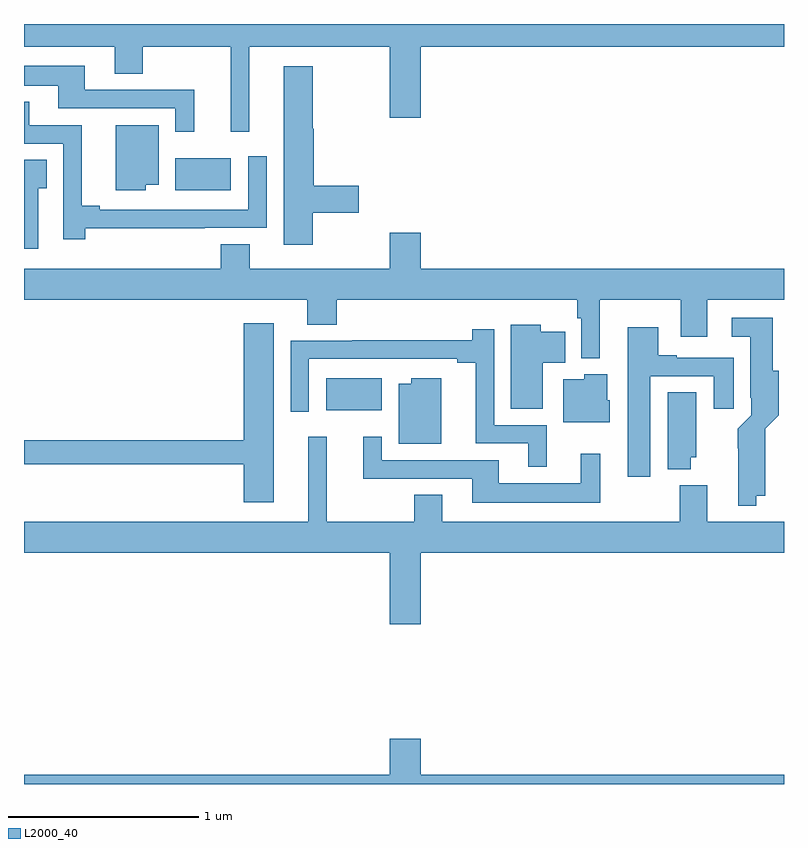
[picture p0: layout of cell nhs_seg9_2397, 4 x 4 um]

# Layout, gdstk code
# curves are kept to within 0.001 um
import gdstk
lib = gdstk.Library(unit=1e-6, precision=1e-09)
def R(c, l, rs):  # rectangles x0, y0, x1, y1
    for r in rs: c.add(gdstk.rectangle(r[:2], r[2:], *l))
def P(c, l, *ps):  # polygons
    for p in ps: c.add(gdstk.Polygon(p, *l))
L2000_40 = (2000, 40)

nhs_seg9_2397 = lib.new_cell('nhs_seg9_2397')
R(nhs_seg9_2397, L2000_40, [(248.591,1234.466,248.884,1234.636), (247.796,1235.624,248.089,1235.794)])
P(nhs_seg9_2397, L2000_40, [(248.186,1236.38),(248.924,1236.38),(248.924,1236.006),(249.088,1236.006),(249.088,1236.38),(251,1236.38),(251,1236.5),(247,1236.5),(247,1236.38),(247.478,1236.38),(247.478,1236.238),(247.626,1236.238),(247.626,1236.38),(248.087,1236.38),(248.087,1235.934),(248.186,1235.934)],
  [(247.895,1236.153),(247.321,1236.153),(247.321,1236.28),(247,1236.28),(247,1236.176),(247.181,1236.176),(247.181,1236.057),(247.797,1236.057),(247.797,1235.934),(247.895,1235.934)],
  [(248.52,1235.506),(248.761,1235.506),(248.761,1235.648),(248.525,1235.648),(248.525,1235.948),(248.52,1235.948),(248.52,1236.277),(248.366,1236.277),(248.366,1235.337),(248.52,1235.337)],
  [(247.322,1235.426),(247.952,1235.426),(247.952,1235.427),(248.277,1235.427),(248.277,1235.803),(248.181,1235.803),(248.181,1235.523),(247.399,1235.523),(247.399,1235.543),(247.304,1235.543),(247.304,1235.967),(247.027,1235.967),(247.027,1236.091),(247,1236.091),(247,1235.871),(247.206,1235.871),(247.206,1235.367),(247.322,1235.367)],
  [(247.642,1235.654),(247.708,1235.654),(247.708,1235.968),(247.484,1235.968),(247.484,1235.624),(247.642,1235.624)],
  [(247.075,1235.635),(247.121,1235.635),(247.121,1235.786),(247,1235.786),(247,1235.316),(247.075,1235.316)],
  [(250.03,1235.048),(250.457,1235.048),(250.457,1234.854),(250.597,1234.854),(250.597,1235.048),(251,1235.048),(251,1235.212),(249.088,1235.212),(249.088,1235.401),(248.924,1235.401),(248.924,1235.212),(248.188,1235.212),(248.188,1235.342),(248.036,1235.342),(248.036,1235.212),(247,1235.212),(247,1235.048),(248.492,1235.048),(248.492,1234.918),(248.645,1234.918),(248.645,1235.048),(249.913,1235.048),(249.913,1234.952),(249.933,1234.952),(249.933,1234.742),(250.03,1234.742)],
  [(250.855,1234.016),(250.9,1234.016),(250.901,1234.37),(250.973,1234.442),(250.973,1234.674),(250.942,1234.674),(250.942,1234.954),(250.725,1234.954),(250.725,1234.853),(250.823,1234.853),(250.823,1234.534),(250.827,1234.534),(250.827,1234.44),(250.757,1234.37),(250.758,1233.965),(250.855,1233.965)],
  [(248.314,1234.924),(248.156,1234.924),(248.156,1234.31),(247,1234.31),(247,1234.182),(248.156,1234.182),(248.156,1233.984),(248.314,1233.984)],
  [(249.73,1234.718),(249.848,1234.718),(249.848,1234.879),(249.721,1234.879),(249.721,1234.918),(249.563,1234.918),(249.563,1234.474),(249.73,1234.474)],
  [(250.297,1234.647),(250.631,1234.647),(250.631,1234.476),(250.735,1234.476),(250.735,1234.743),(250.435,1234.743),(250.435,1234.756),(250.339,1234.756),(250.339,1234.903),(250.178,1234.903),(250.178,1234.116),(250.297,1234.116)],
  [(249.751,1234.389),(249.474,1234.389),(249.474,1234.894),(249.358,1234.894),(249.358,1234.835),(248.728,1234.835),(248.728,1234.833),(248.403,1234.833),(248.403,1234.458),(248.499,1234.458),(248.499,1234.737),(249.281,1234.737),(249.281,1234.717),(249.377,1234.717),(249.377,1234.293),(249.653,1234.293),(249.653,1234.169),(249.751,1234.169)],
  [(250.084,1234.521),(250.069,1234.521),(250.069,1234.657),(249.948,1234.657),(249.948,1234.63),(249.839,1234.63),(249.839,1234.403),(250.084,1234.403)],
  [(249.196,1234.636),(249.038,1234.636),(249.038,1234.606),(248.972,1234.606),(248.972,1234.292),(249.196,1234.292)],
  [(250.51,1234.221),(250.537,1234.221),(250.537,1234.562),(250.388,1234.562),(250.388,1234.157),(250.51,1234.157)],
  [(249.088,1233.716),(251,1233.716),(251,1233.88),(250.597,1233.88),(250.597,1234.072),(250.45,1234.072),(250.45,1233.88),(249.202,1233.88),(249.202,1234.022),(249.055,1234.022),(249.055,1233.88),(248.594,1233.88),(248.594,1234.327),(248.495,1234.327),(248.495,1233.88),(247,1233.88),(247,1233.716),(248.924,1233.716),(248.924,1233.342),(249.088,1233.342)],
  [(250.033,1234.237),(249.929,1234.237),(249.929,1234.084),(249.499,1234.084),(249.499,1234.203),(248.883,1234.203),(248.883,1234.327),(248.786,1234.327),(248.786,1234.107),(249.359,1234.107),(249.359,1233.98),(250.033,1233.98)],
  [(251,1232.548),(249.088,1232.548),(249.088,1232.737),(248.924,1232.737),(248.924,1232.548),(247,1232.548),(247,1232.5),(251,1232.5)])

lib.write_gds('nhs_seg9_2397.gds')
